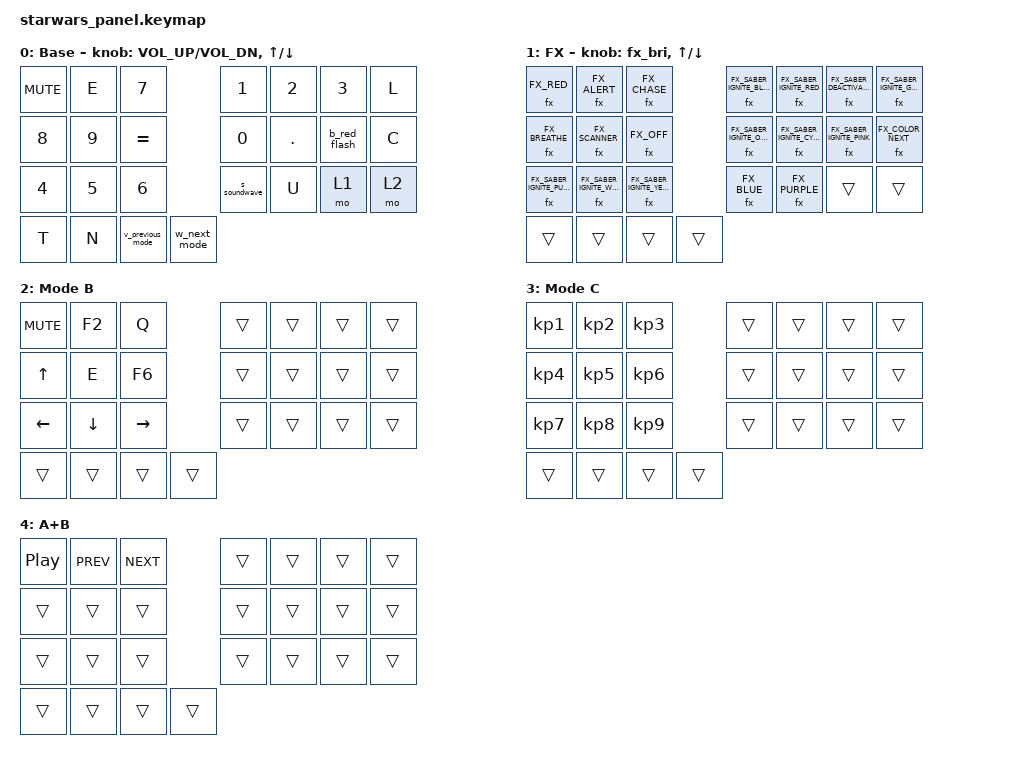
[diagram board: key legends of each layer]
#include <behaviors.dtsi>
#include <dt-bindings/zmk/keys.h>
#include "starwars_panel_behaviors.dtsi"

/*
 * Key positions (see starwars_panel-layouts.dtsi):
 *   0-8   number cluster  -> 1..9
 *   9-12  4-key group
 *   13-14 2-key group A   -> LED alert / sweep
 *   15-16 2-key group B
 *   17-18 2-key group C
 *   19-22 4-key group
 *   23    flip switch A   -> holds layer 1 (FX) while ON
 *   24    flip switch B   -> holds layer 2 (mode B) while ON
 *
 * Layers stack: for each key the highest ACTIVE layer with a binding other
 * than &trans wins. Layer index = order in this file (base = 0).
 *
 *   0 base      always on
 *   1 fx        switch A
 *   2 mode_b    switch B
 *   3 mode_c    (reserved)
 *   4 mode_ab   automatically on when A and B are both ON (conditional layer)
 *
 * Everything except 1-9 and the LED/switch keys is a placeholder: change freely.
 */
/ {
	combos {
		compatible = "zmk,combos";

		bootloader_combo {
			timeout-ms = <100>;
			key-positions = <9 15 16 22>;
			bindings = <&bootloader>;
		};

		green_mode_combo {
			timeout-ms = <100>;
			key-positions = <5 15 17 13>;
			bindings = <&fx FX_GREEN>;
		};
	};

	/* Extra layer that only turns on for a switch combination.
	 * Its index must be higher than the layers in if-layers so it wins.
	 * Copy the block for more combos (A+C, B+C, A+B+C). */
	conditional_layers {
		compatible = "zmk,conditional-layers";

		a_and_b {
			if-layers = <1 2>;
			then-layer = <4>;
		};
	};

	keymap {
		compatible = "zmk,keymap";

		base_layer {
			display-name = "Base";
			bindings = <
					&kp C_MUTE  	&kp E
				&kp N7  &kp N8  &kp N9  &kp EQUAL
				&kp N4  &kp N5  &kp N6  
				&kp N1  &kp N2  &kp N3  &kp L  
					&kp N0  	&kp PERIOD
				
				&b_red_flash  &kp C
				&s_soundwave  &kp U
				&kp T  &kp N  &v_previous_mode  &w_next_mode
				
				&mo 1  &mo 2
			>;

			sensor-bindings = <
				&inc_dec_kp C_VOL_UP C_VOL_DN
				&inc_dec_kp UP DOWN
			>;
		};

		fx_layer {
			display-name = "FX";
			bindings = <
				&fx FX_RED  &fx FX_ALERT  &fx FX_CHASE  &fx FX_BREATHE  &fx FX_SCANNER  &fx FX_OFF  &fx FX_SABER_IGNITE_PURPLE  &fx FX_SABER_IGNITE_WHITE  &fx FX_SABER_IGNITE_YELLOW
				&fx FX_SABER_IGNITE_BLUE  &fx FX_SABER_IGNITE_RED  &fx FX_SABER_DEACTIVATE  &fx FX_SABER_IGNITE_GREEN
				&fx FX_SABER_IGNITE_ORANGE  &fx FX_SABER_IGNITE_CYAN
				&fx FX_SABER_IGNITE_PINK  &fx FX_COLOR_NEXT
				&fx FX_BLUE  &fx FX_PURPLE
				&trans  &trans  &trans  &trans
				&trans  &trans
			>;

			sensor-bindings = <
				&fx_bri
				&inc_dec_kp UP DOWN
			>;
		};

		mode_b_layer {
			display-name = "Mode B";
			bindings = <
				&kp C_MUTE  &kp F2  &kp Q  &kp UP  &kp E  &kp F6  &kp LEFT  &kp DOWN  &kp RIGHT
				&trans  &trans  &trans  &trans
				&trans  &trans
				&trans  &trans
				&trans  &trans
				&trans  &trans  &trans  &trans
				&trans  &trans
			>;
		};

		mode_c_layer {
			display-name = "Mode C";
			bindings = <
				&kp KP_N1  &kp KP_N2  &kp KP_N3  &kp KP_N4  &kp KP_N5  &kp KP_N6  &kp KP_N7  &kp KP_N8  &kp KP_N9
				&trans  &trans  &trans  &trans
				&trans  &trans
				&trans  &trans
				&trans  &trans
				&trans  &trans  &trans  &trans
				&trans  &trans
			>;
		};

		mode_ab_layer {
			display-name = "A+B";
			bindings = <
				&kp C_PLAY_PAUSE  &kp C_PREV  &kp C_NEXT  &trans  &trans  &trans  &trans  &trans  &trans
				&trans  &trans  &trans  &trans
				&trans  &trans
				&trans  &trans
				&trans  &trans
				&trans  &trans  &trans  &trans
				&trans  &trans
			>;
		};
	};
};
